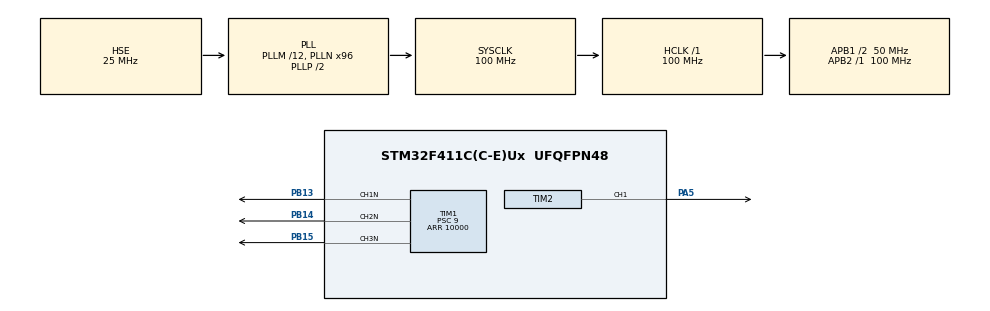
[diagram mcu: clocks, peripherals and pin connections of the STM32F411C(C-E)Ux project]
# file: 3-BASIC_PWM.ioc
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Mcu.Family=STM32F4
Mcu.Name=STM32F411C(C-E)Ux
Mcu.Package=UFQFPN48
NVIC.PriorityGroup=NVIC_PRIORITYGROUP_4
PA13.Mode=Serial-Wire
PA13.Signal=SYS_JTMS-SWDIO
PA14.Mode=Serial-Wire
PA14.Signal=SYS_JTCK-SWCLK
PA5.Signal=S_TIM2_CH1_ETR
PB13.Mode=PWM Generation1 CH1N
PB13.Signal=TIM1_CH1N
PB14.Mode=PWM Generation2 CH2N
PB14.Signal=TIM1_CH2N
PB15.Mode=PWM Generation3 CH3N
PB15.Signal=TIM1_CH3N
PC14-OSC32_IN.Mode=LSE-External-Oscillator
PC14-OSC32_IN.Signal=RCC_OSC32_IN
PC15-OSC32_OUT.Mode=LSE-External-Oscillator
PC15-OSC32_OUT.Signal=RCC_OSC32_OUT
PH0\ -\ OSC_IN.Mode=HSE-External-Oscillator
PH0\ -\ OSC_IN.Signal=RCC_OSC_IN
PH1\ -\ OSC_OUT.Mode=HSE-External-Oscillator
PH1\ -\ OSC_OUT.Signal=RCC_OSC_OUT
ProjectManager.HeapSize=0x400
ProjectManager.StackSize=0x200
ProjectManager.TargetToolchain=SW4STM32
RCC.48MHZClocksFreq_Value=50000000
RCC.AHBFreq_Value=100000000
RCC.APB1CLKDivider=RCC_HCLK_DIV2
RCC.APB1Freq_Value=50000000
RCC.APB1TimCLKDivider=1
RCC.APB1TimFreq_Value=50000000
RCC.APB2Freq_Value=100000000
RCC.APB2TimFreq_Value=100000000
RCC.CortexFreq_Value=100000000
RCC.HCLKFreq_Value=100000000
RCC.HSE_VALUE=25000000
RCC.HSI_VALUE=16000000
RCC.PLLM=12
RCC.PLLN=96
RCC.PLLSourceVirtual=RCC_PLLSOURCE_HSE
RCC.SYSCLKFreq_VALUE=100000000
RCC.SYSCLKSource=RCC_SYSCLKSOURCE_PLLCLK
RCC.VCOOutputFreq_Value=200000000
SH.S_TIM2_CH1_ETR.0=TIM2_CH1,PWM Generation1 CH1
TIM1.Channel-PWM\ Generation2\ CH2N=TIM_CHANNEL_2
TIM1.Channel-PWM\ Generation3\ CH3N=TIM_CHANNEL_3
TIM1.OCNPolarity_1=TIM_OCNPOLARITY_LOW
TIM1.OCNPolarity_2=TIM_OCNPOLARITY_LOW
TIM1.OCNPolarity_3=TIM_OCNPOLARITY_LOW
TIM1.Period=10000
TIM1.Prescaler=9
TIM2.Period=10000
TIM2.Prescaler=49
board=3-BASIC_PWM

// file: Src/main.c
/**
  ******************************************************************************
  * File Name          : main.c
  * Description        : Main program body
  ******************************************************************************
  *
  * COPYRIGHT(c) 2016 STMicroelectronics
  *
  * Redistribution and use in source and binary forms, with or without modification,
  * are permitted provided that the following conditions are met:
  *   1. Redistributions of source code must retain the above copyright notice,
  *      this list of conditions and the following disclaimer.
  *   2. Redistributions in binary form must reproduce the above copyright notice,
  *      this list of conditions and the following disclaimer in the documentation
  *      and/or other materials provided with the distribution.
  *   3. Neither the name of STMicroelectronics nor the names of its contributors
  *      may be used to endorse or promote products derived from this software
  *      without specific prior written permission.
  *
  * THIS SOFTWARE IS PROVIDED BY THE COPYRIGHT HOLDERS AND CONTRIBUTORS "AS IS"
  * AND ANY EXPRESS OR IMPLIED WARRANTIES, INCLUDING, BUT NOT LIMITED TO, THE
  * IMPLIED WARRANTIES OF MERCHANTABILITY AND FITNESS FOR A PARTICULAR PURPOSE ARE
  * DISCLAIMED. IN NO EVENT SHALL THE COPYRIGHT HOLDER OR CONTRIBUTORS BE LIABLE
  * FOR ANY DIRECT, INDIRECT, INCIDENTAL, SPECIAL, EXEMPLARY, OR CONSEQUENTIAL
  * DAMAGES (INCLUDING, BUT NOT LIMITED TO, PROCUREMENT OF SUBSTITUTE GOODS OR
  * SERVICES; LOSS OF USE, DATA, OR PROFITS; OR BUSINESS INTERRUPTION) HOWEVER
  * CAUSED AND ON ANY THEORY OF LIABILITY, WHETHER IN CONTRACT, STRICT LIABILITY,
  * OR TORT (INCLUDING NEGLIGENCE OR OTHERWISE) ARISING IN ANY WAY OUT OF THE USE
  * OF THIS SOFTWARE, EVEN IF ADVISED OF THE POSSIBILITY OF SUCH DAMAGE.
  *
  ******************************************************************************
  */
#include "stm32f4xx_hal.h"
#include "tim.h"
#include "gpio.h"

/* USER CODE BEGIN PV */
/* Private variables ---------------------------------------------------------*/

/* USER CODE END PV */

void SystemClock_Config(void);

/* USER CODE BEGIN PFP */
/* Private function prototypes -----------------------------------------------*/

/* USER CODE END PFP */

/* USER CODE BEGIN 0 */
void set_led_brightness(TIM_HandleTypeDef * timer, uint32_t channel,
		float brightness) {
	int32_t value = powf((brightness), 2.2) * 10000;
	__HAL_TIM_SET_COMPARE(timer, channel, value);
}

void blink_led(TIM_HandleTypeDef * timer, uint32_t channel) {
	for (float i = 0; i <= 1; i += 0.001) {
		set_led_brightness(timer, channel, i);
		HAL_Delay(5);
	}

	for (float i = 1; i >= 0; i -= 0.001) {
		set_led_brightness(timer, channel, i);
		HAL_Delay(5);
	}
}
/* USER CODE END 0 */

int main(void)
{

  /* MCU Configuration----------------------------------------------------------*/

  /* Reset of all peripherals, Initializes the Flash interface and the Systick. */
  HAL_Init();

  /* Configure the system clock */
  SystemClock_Config();

  /* Initialize all configured peripherals */
  MX_GPIO_Init();
  MX_TIM1_Init();
  MX_TIM2_Init();

  /* USER CODE BEGIN 2 */
	HAL_TIM_PWM_Start(&htim2, TIM_CHANNEL_1);
	HAL_TIMEx_PWMN_Start(&htim1, TIM_CHANNEL_1);
	HAL_TIMEx_PWMN_Start(&htim1, TIM_CHANNEL_2);
	HAL_TIMEx_PWMN_Start(&htim1, TIM_CHANNEL_3);
  /* USER CODE END 2 */

  /* Infinite loop */
	while (1) {

  /* USER CODE BEGIN 3 */
		blink_led(&htim2, TIM_CHANNEL_1);
		blink_led(&htim1, TIM_CHANNEL_1);
		blink_led(&htim1, TIM_CHANNEL_2);
		blink_led(&htim1, TIM_CHANNEL_3);
	}
  /* USER CODE END 3 */

}

/** System Clock Configuration
*/
void SystemClock_Config(void)
{

  RCC_OscInitTypeDef RCC_OscInitStruct;
  RCC_ClkInitTypeDef RCC_ClkInitStruct;

  __PWR_CLK_ENABLE();

  __HAL_PWR_VOLTAGESCALING_CONFIG(PWR_REGULATOR_VOLTAGE_SCALE1);

  RCC_OscInitStruct.OscillatorType = RCC_OSCILLATORTYPE_HSE;
  RCC_OscInitStruct.HSEState = RCC_HSE_ON;
  RCC_OscInitStruct.PLL.PLLState = RCC_PLL_ON;
  RCC_OscInitStruct.PLL.PLLSource = RCC_PLLSOURCE_HSE;
  RCC_OscInitStruct.PLL.PLLM = 12;
  RCC_OscInitStruct.PLL.PLLN = 96;
  RCC_OscInitStruct.PLL.PLLP = RCC_PLLP_DIV2;
  RCC_OscInitStruct.PLL.PLLQ = 4;
  HAL_RCC_OscConfig(&RCC_OscInitStruct);

  RCC_ClkInitStruct.ClockType = RCC_CLOCKTYPE_HCLK|RCC_CLOCKTYPE_SYSCLK
                              |RCC_CLOCKTYPE_PCLK1|RCC_CLOCKTYPE_PCLK2;
  RCC_ClkInitStruct.SYSCLKSource = RCC_SYSCLKSOURCE_PLLCLK;
  RCC_ClkInitStruct.AHBCLKDivider = RCC_SYSCLK_DIV1;
  RCC_ClkInitStruct.APB1CLKDivider = RCC_HCLK_DIV2;
  RCC_ClkInitStruct.APB2CLKDivider = RCC_HCLK_DIV1;
  HAL_RCC_ClockConfig(&RCC_ClkInitStruct, FLASH_LATENCY_3);

  HAL_SYSTICK_Config(HAL_RCC_GetHCLKFreq()/1000);

  HAL_SYSTICK_CLKSourceConfig(SYSTICK_CLKSOURCE_HCLK);

  /* SysTick_IRQn interrupt configuration */
  HAL_NVIC_SetPriority(SysTick_IRQn, 0, 0);
}

/************************ (C) COPYRIGHT STMicroelectronics *****END OF FILE****/
